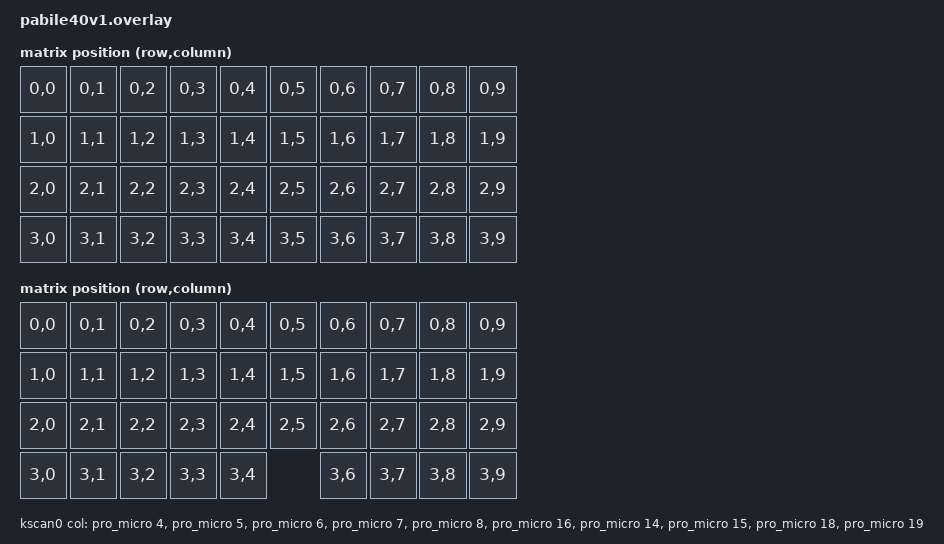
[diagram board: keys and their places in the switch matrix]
/*
 * Copyright (c) 2025 The ZMK Contributors
 *
 * SPDX-License-Identifier: MIT
 */

#include <dt-bindings/zmk/matrix_transform.h>
#include <layouts/common/ortho_4x10/all1u.dtsi>
#include <layouts/common/ortho_4x10/1x2u.dtsi>

/ {

	kscan0: kscan_0 {
		compatible = "zmk,kscan-gpio-matrix";
		diode-direction = "col2row";

		col-gpios
			= <&pro_micro 4 GPIO_ACTIVE_HIGH>
			, <&pro_micro 5 GPIO_ACTIVE_HIGH>
			, <&pro_micro 6 GPIO_ACTIVE_HIGH>
			, <&pro_micro 7 GPIO_ACTIVE_HIGH>
			, <&pro_micro 8 GPIO_ACTIVE_HIGH>
			, <&pro_micro 16 GPIO_ACTIVE_HIGH>
			, <&pro_micro 14 GPIO_ACTIVE_HIGH>
			, <&pro_micro 15 GPIO_ACTIVE_HIGH>
			, <&pro_micro 18 GPIO_ACTIVE_HIGH>
			, <&pro_micro 19 GPIO_ACTIVE_HIGH>
			;

		row-gpios
			, <&pro_micro 2 (GPIO_ACTIVE_HIGH | GPIO_PULL_DOWN)>
			, <&pro_micro 3 (GPIO_ACTIVE_HIGH | GPIO_PULL_DOWN)>
			, <&pro_micro 21 (GPIO_ACTIVE_HIGH | GPIO_PULL_DOWN)>
			, <&pro_micro 20 (GPIO_ACTIVE_HIGH | GPIO_PULL_DOWN)>
			;
	};
	 
    matrix_transform_all1u: keymap_transform_0 {
        compatible = "zmk,matrix-transform";
        columns = <7>;
        rows = <6>;
            // | MX1  |  MX2  |  MX3  |  MX4  |  MX5  |  MX6  |  MX7  |  MX8  |  MX9  |  MX10 |  
            // | MX11 |  MX12 |  MX13 |  MX14 |  MX15 |  MX16 |  MX17 |  MX18 |  MX19 |  MX20 |
            // | MX21 |  MX22 |  MX23 |  MX34 |  MX25 |  MX26 |  MX27 |  MX28 |  MX29 |  MX30 |
            // | MX32 |  MX33 |  MX34 |  MX35 |  MX36 |  MX37 |  MX38 |  MX39 |  MX40 |  MX41 |

        map = <
            RC(0,0) RC(0,1) RC(0,2) RC(0,3) RC(0,4) RC(0,5) RC(0,6) RC(0,7) RC(0,8) RC(0,9)
            RC(1,0) RC(1,1) RC(1,2) RC(1,3) RC(1,4) RC(1,5) RC(1,6) RC(1,7) RC(1,8) RC(1,9)
            RC(2,0) RC(2,1) RC(2,2) RC(2,3) RC(2,4) RC(2,5) RC(2,6) RC(2,7) RC(2,8) RC(2,9)
            RC(3,0) RC(3,1) RC(3,2) RC(3,3) RC(3,4) RC(3,5) RC(3,6) RC(3,7) RC(3,8) RC(3,9)
        >;
    };

    matrix_transform_1x2u: keymap_transform_1 {
        compatible = "zmk,matrix-transform";
        columns = <7>;
        rows = <6>;
            // | MX1  |  MX2  |  MX3  |  MX4  |  MX5  |  MX6  |  MX7  |  MX8  |  MX9  |  MX10 |  
            // | MX11 |  MX12 |  MX13 |  MX14 |  MX15 |  MX16 |  MX17 |  MX18 |  MX19 |  MX20 |
            // | MX21 |  MX22 |  MX23 |  MX34 |  MX25 |  MX26 |  MX27 |  MX28 |  MX29 |  MX30 |
            // | MX32 |  MX33 |  MX34 |  MX35 |     MX36      |  MX38 |  MX39 |  MX40 |  MX41 |

        map = <
            RC(0,0) RC(0,1) RC(0,2) RC(0,3) RC(0,4) RC(0,5) RC(0,6) RC(0,7) RC(0,8) RC(0,9)
            RC(1,0) RC(1,1) RC(1,2) RC(1,3) RC(1,4) RC(1,5) RC(1,6) RC(1,7) RC(1,8) RC(1,9)
            RC(2,0) RC(2,1) RC(2,2) RC(2,3) RC(2,4) RC(2,5) RC(2,6) RC(2,7) RC(2,8) RC(2,9)
            RC(3,0) RC(3,1) RC(3,2) RC(3,3)     RC(3,4)     RC(3,6) RC(3,7) RC(3,8) RC(3,9)
        >;
    };
};

&layout_ortho_4x10_all1u {
    transform = <&matrix_transform_all1u>;
};

&layout_ortho_4x10_1x2u {
    transform = <&matrix_transform_1x2u>;
};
